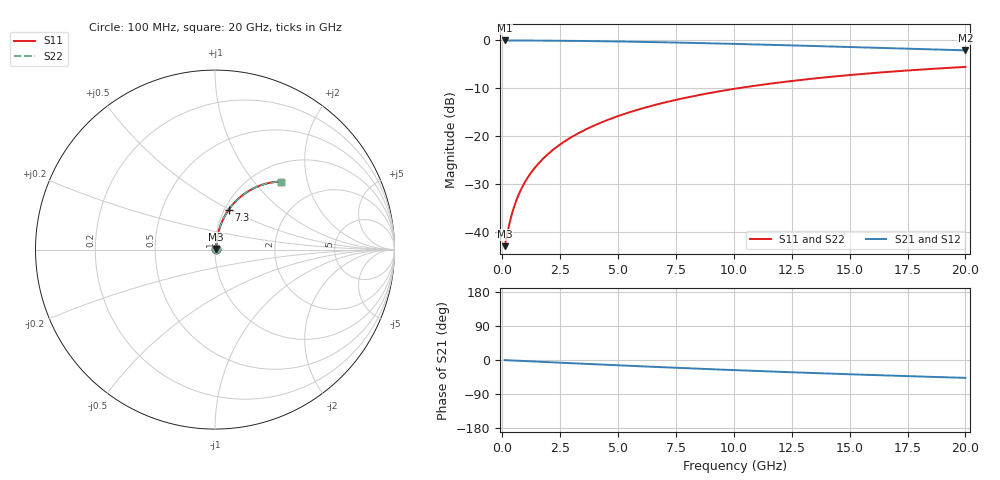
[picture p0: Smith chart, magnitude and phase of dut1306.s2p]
! Touchstone file exported from HFSS 2024.1.0
!  File:  C:/UserFiles/LocalFiles/RDL_TSV_Batchsim/temp_RDL_bottom_1306_1780368351.aedt
!  Generated:  10:48:27 AM Jun  2, 2026
!  Design:  RDL_bottom
!  Project:  temp_RDL_bottom_1306_1780368351
!  Setup:  Setup1
!  Solution:  Sweep
! Variables:
!  dtsv = 10.80580581um
!  hbump = 3um
!  htsv = 50.4um
!  ldown = 600.75um
!  lrdl = 100um
!  p = 40
!  p1 = 51.9um
!  rhole = 1um
!  t = 450um
!  tdown = 2.75um
!  trdl = 3.915915916um
!  wdown = 12.33um
!  wrdl = 20um
# GHz S MA R 50.000000
! Terminal data exported
! Port[1] = RDL1_T1
! Port[2] = RDL1_T2
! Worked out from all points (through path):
!   200 points, 100 MHz to 20 GHz, reference 50 ohm
!   highest |S21| = -0.06 dB at 100 MHz (marker M1); lowest = -2.1 dB at 20 GHz (marker M2)
!   group delay of S21, straight-line fit = 6.55 ps
!   lowest |S11| = -42.9 dB at 100 MHz (marker M3), VSWR 1.01, Z = 50.6 + j0.344 ohm
!   |S11| at or under -10 dB: start of sweep to 10.18 GHz
!   |S22| runs from -42.9 to -5.6 dB; largest |S21 - S12| = 2.7e-15
!   S11 on the Smith chart (normalised r, x): 100 MHz: 1.01, +0.01; 7.3 GHz: 1.05, +0.49; 20 GHz: 1.32, +1.39
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0.1  0.007192 28.2  0.9937 -0.3  0.9937 -0.3  0.007192 28.2
! Gamma 0 0 0 0
! Port Impedance 50 0 50 0
0.3  0.01209 57.1  0.9935 -0.9  0.9935 -0.9  0.01209 57.1
0.4  0.01508 63.4  0.9933 -1.2  0.9933 -1.2  0.01508 63.4
0.5  0.01818 67.4  0.9931 -1.5  0.9931 -1.5  0.01818 67.4
0.6  0.02133 70.2  0.9929 -1.7  0.9929 -1.7  0.02133 70.2
0.7  0.0245 72.2  0.9927 -2.0  0.9927 -2.0  0.0245 72.2
0.9  0.03088 74.8  0.9922 -2.6  0.9922 -2.6  0.03088 74.8
1.2  0.04047 77.0  0.9914 -3.5  0.9914 -3.5  0.04047 77.0
1.4  0.04688 77.9  0.9908 -4.0  0.9908 -4.0  0.04688 77.9
1.7  0.05651 78.6  0.9898 -4.9  0.9898 -4.9  0.05651 78.6
2.2  0.07261 79.1  0.9879 -6.3  0.9879 -6.3  0.07261 79.1
2.8  0.09195 78.9  0.985 -8.0  0.985 -8.0  0.09195 78.9
3.5  0.1145 78.2  0.981 -9.9  0.981 -9.9  0.1145 78.2
4.2  0.1369 77.2  0.9762 -11.8  0.9762 -11.8  0.1369 77.2
5  0.1623 75.8  0.9698 -14.0  0.9698 -14.0  0.1623 75.8
6.8  0.2183 72.2  0.9527 -18.7  0.9527 -18.7  0.2183 72.2
7.3  0.2334 71.2  0.9474 -20.0  0.9474 -20.0  0.2334 71.2
8.6  0.2718 68.4  0.9326 -23.3  0.9326 -23.3  0.2718 68.4
10.1  0.314 65.2  0.9142 -26.9  0.9142 -26.9  0.314 65.2
13.4  0.3978 58.3  0.871 -34.3  0.871 -34.3  0.3978 58.3
16.7  0.4687 51.8  0.8267 -41.0  0.8267 -41.0  0.4687 51.8
20  0.5273 46.0  0.7839 -47.1  0.7839 -47.1  0.5273 46.0
